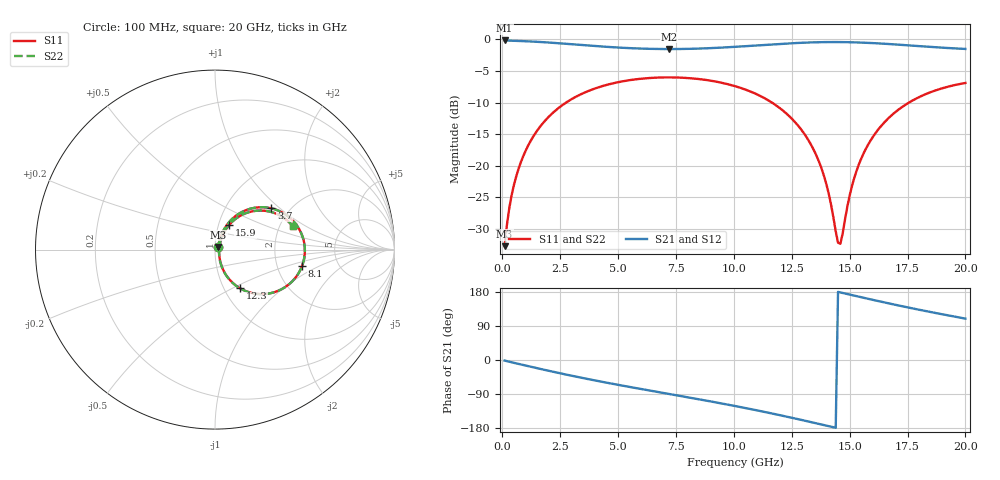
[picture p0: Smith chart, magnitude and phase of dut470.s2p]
! Touchstone file exported from HFSS 2026.1.0
!  File:  C:/ffzhzh/LocalFiles/Ansys_Project_Files/temp_train_TSV_RDL_470_1783102927_37876.aedt
!  Generated:  02:32:14 AM Jul  4, 2026
!  Design:  TSV_RDL
!  Project:  temp_train_TSV_RDL_470_1783102927_37876
! Variables:
!  h_bsmrdl = 5.54um
!  h_ox = 20um
!  h_rdl = 5um
!  h_sub = 51.83um
!  h_tmrdl = 3.31um
!  h_tsv = 51.83um
!  h_via = 3um
!  l_bsmrdl = 264.56um
!  l_sub = 4447.96um
!  l_tmrdl = 784.35um
!  m_sub = 200um
!  pitch = 48.46um
!  r_tsv = 10.24um
!  s_tmrdl = 10um
!  w_bsmrdl = 11.26um
!  w_sub = 500um
!  w_tmrdl = 27.7um
!  x_tsv_center1 = 798.2um
!  x_tsv_center2 = 1074.02um
!  x_tsv_center3 = 1886.07um
!  x_tsv_center4 = 2161.89um
!  x_tsv_center5 = 2973.94um
!  x_tsv_center6 = 3249.76um
# GHz S MA R 50.000000
! Terminal data exported
! Port[1] = TM_RDL1_1_T1
! Port[2] = TM_RDL5_1_T1
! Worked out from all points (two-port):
!   200 points, 100 MHz to 20 GHz, reference 50 ohm
!   highest |S21| = -0.16 dB at 100 MHz (marker M1); lowest = -1.5 dB at 7.2 GHz (marker M2)
!   |S21| within 3 dB of the highest: start of sweep to end of sweep
!   lowest |S11| = -32.7 dB at 100 MHz (marker M3), VSWR 1.05, Z = 51.8 + j1.45 ohm
!   |S11| at or under -10 dB: start of sweep to 2.754 GHz; 11.64 GHz to 17.56 GHz (5.918 GHz wide, 40.5 % of centre)
!   |S22| runs from -32.7 to -6.0 dB; largest |S21 - S12| = 2.2e-14
!   S11 on the Smith chart (normalised r, x): 100 MHz: 1.04, +0.03; 3.7 GHz: 1.62, +0.88; 8.1 GHz: 2.76, -0.68; 12.3 GHz: 1.19, -0.55; 15.9 GHz: 1.12, +0.32; 20 GHz: 2.35, +0.77
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0.1  0.02305 37.4  0.982 -1.5  0.982 -1.5  0.02305 37.3
! Gamma 0 0 0 0
! Port Impedance 50 0 50 0
0.3  0.04591 59.8  0.9792 -4.5  0.9792 -4.5  0.04591 59.8
0.5  0.07001 65.0  0.9762 -7.4  0.9762 -7.4  0.07001 65.0
1.1  0.1424 64.9  0.9665 -16.0  0.9665 -16.0  0.1424 64.9
2.1  0.2539 54.8  0.943 -29.8  0.943 -29.8  0.2539 54.8
3.5  0.3758 38.4  0.9016 -47.8  0.9016 -47.8  0.3758 38.4
3.7  0.3896 36.1  0.8958 -50.3  0.8958 -50.3  0.3896 36.1
6.8  0.4995 2.6  0.8402 -85.3  0.8402 -85.3  0.4996 2.6
7.2  0.5008 -1.5  0.8393 -89.6  0.8393 -89.6  0.5008 -1.6
8.1  0.4933 -10.9  0.8429 -99.4  0.8429 -99.4  0.4934 -10.9
10.1  0.4241 -32.3  0.8752 -122.0  0.8752 -122.0  0.4241 -32.4
12.3  0.2561 -57.2  0.9289 -149.7  0.9289 -149.7  0.2561 -57.3
13.4  0.1391 -67.4  0.9482 -164.8  0.9482 -164.8  0.1391 -67.7
14  0.07089 -65.9  0.9532 -173.2  0.9532 -173.2  0.07069 -66.6
14.5  0.02454 -18.6  0.9537 179.7  0.9537 179.7  0.02369 -19.5
14.6  0.02408 8.6  0.9534 178.3  0.9534 178.3  0.02315 8.8
15  0.05784 56.9  0.9508 172.6  0.9508 172.6  0.05738 57.7
15.2  0.07996 61.1  0.9488 169.8  0.9488 169.8  0.0796 61.7
15.9  0.1578 60.2  0.9379 160.1  0.9379 160.1  0.1576 60.5
16.7  0.24 52.6  0.9201 149.3  0.9201 149.3  0.2399 52.9
18.3  0.3698 35.0  0.8779 129.0  0.8779 129.0  0.3696 35.1
20  0.4523 16.7  0.8414 109.2  0.8414 109.2  0.4522 16.8
